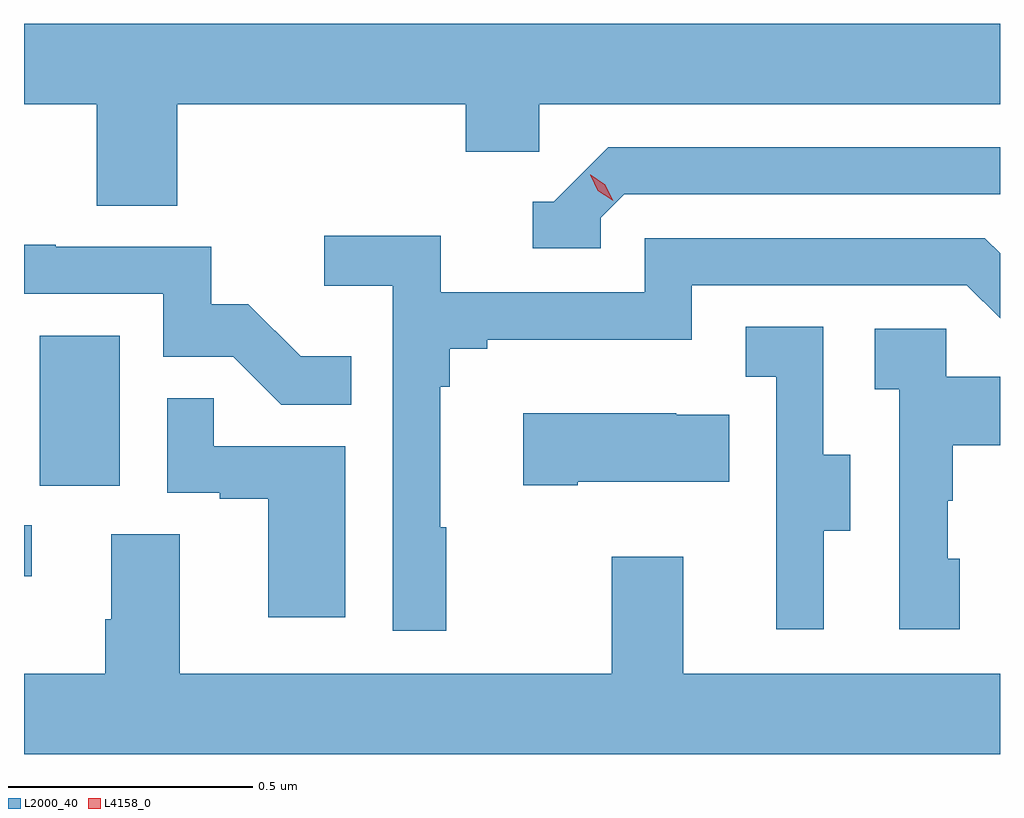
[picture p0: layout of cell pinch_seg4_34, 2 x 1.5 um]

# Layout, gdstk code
import gdstk
lib = gdstk.Library(unit=1e-6, precision=1e-09)
def R(c, l, rs):  # rectangles x0, y0, x1, y1
    for r in rs: c.add(gdstk.rectangle(r[:2], r[2:], *l))
def P(c, l, *ps):  # polygons
    for p in ps: c.add(gdstk.Polygon(p, *l))
L2000_40 = (2000, 40)
L4158_0 = (4158, 0)

pinch_seg4_34 = lib.new_cell('pinch_seg4_34')
R(pinch_seg4_34, L2000_40, [(1130.1,811.836,1130.116,811.941), (1130.132,812.022,1130.296,812.329)])
P(pinch_seg4_34, L2000_40, [(1130.414,812.804),(1131.005,812.804),(1131.005,812.706),(1131.156,812.706),(1131.156,812.804),(1132.1,812.804),(1132.1,812.968),(1130.1,812.968),(1130.1,812.804),(1130.249,812.804),(1130.249,812.596),(1130.414,812.596)],
  [(1131.282,812.571),(1131.33,812.619),(1132.1,812.619),(1132.1,812.715),(1131.297,812.715),(1131.186,812.604),(1131.143,812.604),(1131.143,812.508),(1131.282,812.508)],
  [(1130.965,811.937),(1130.953,811.937),(1130.953,812.225),(1130.972,812.225),(1130.972,812.302),(1131.049,812.302),(1131.049,812.321),(1131.468,812.321),(1131.468,812.433),(1132.032,812.433),(1132.1,812.365),(1132.1,812.498),(1132.069,812.529),(1131.372,812.529),(1131.372,812.418),(1130.954,812.418),(1130.954,812.534),(1130.715,812.534),(1130.715,812.432),(1130.856,812.432),(1130.856,811.725),(1130.965,811.725)],
  [(1130.771,812.287),(1130.667,812.287),(1130.56,812.394),(1130.484,812.394),(1130.484,812.511),(1130.165,812.511),(1130.165,812.516),(1130.1,812.516),(1130.1,812.415),(1130.385,812.415),(1130.385,812.286),(1130.529,812.286),(1130.627,812.188),(1130.771,812.188)],
  [(1131.739,811.93),(1131.793,811.93),(1131.793,812.085),(1131.738,812.085),(1131.738,812.348),(1131.579,812.348),(1131.579,812.245),(1131.642,812.245),(1131.642,811.941),(1131.641,811.941),(1131.641,811.728),(1131.739,811.728)],
  [(1132.018,811.872),(1131.993,811.872),(1131.993,811.991),(1132.003,811.991),(1132.003,812.105),(1132.1,812.105),(1132.1,812.245),(1131.99,812.245),(1131.99,812.343),(1131.843,812.343),(1131.843,812.219),(1131.894,812.219),(1131.894,811.728),(1132.018,811.728)],
  [(1130.758,812.103),(1130.489,812.103),(1130.489,812.201),(1130.394,812.201),(1130.394,812.007),(1130.501,812.007),(1130.501,811.995),(1130.6,811.995),(1130.6,811.752),(1130.758,811.752)],
  [(1131.235,812.03),(1131.545,812.03),(1131.545,812.167),(1131.437,812.167),(1131.437,812.17),(1131.123,812.17),(1131.123,812.023),(1131.235,812.023)],
  [(1132.1,811.636),(1131.451,811.636),(1131.451,811.876),(1131.304,811.876),(1131.304,811.636),(1130.419,811.636),(1130.419,811.922),(1130.279,811.922),(1130.279,811.748),(1130.267,811.748),(1130.267,811.636),(1130.1,811.636),(1130.1,811.472),(1132.1,811.472)])
P(pinch_seg4_34, L4158_0, [(1131.307,812.606),(1131.276,812.626),(1131.26,812.659),(1131.26,812.659),(1131.261,812.659),(1131.291,812.639),(1131.307,812.606),(1131.307,812.606)])

lib.write_gds('pinch_seg4_34.gds')
